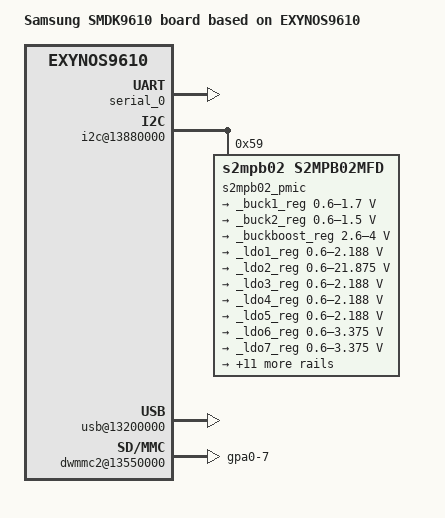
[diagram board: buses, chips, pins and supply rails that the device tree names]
/*
 * SAMSUNG EXYNOS9610 board device tree source
 *
 * Copyright (c) 2017 Samsung Electronics Co., Ltd.
 *		http://www.samsung.com
 *
 * This program is free software; you can redistribute it and/or modify
 * it under the terms of the GNU General Public License version 2 as
 * published by the Free Software Foundation.
 */

/dts-v1/;
#include "exynos9610-rmem.dtsi"
#include "exynos9610.dtsi"

/ {
	model = "Samsung SMDK9610 board based on EXYNOS9610";
	compatible = "samsung,exynos9610", "samsung,SMDK9610";

	ect {
		parameter_address = <0x90000000>;
		parameter_size = <0x19000>;
	};

	memory@80000000 {
		device_type = "memory";
		reg = <0x0 0x80000000 0x80000000>;
	};

	memory@880000000 {
		device_type = "memory";
		reg = <0x00000008 0x80000000 0x80000000>;
	};

	chosen {
		bootargs = "console=ttySAC0,115200n8 root=/dev/ram0 clk_ignore_unused bcm_setup=0xffffff80f8e00000 androidboot.hardware=samsungexynos9610 androidboot.selinux=permissive androidboot.debug_level=0x4948 firmware_class.path=/vendor/firmware";
		linux,initrd-start = <0x84000000>;
		linux,initrd-end = <0x841FFFFF>;
	};

	fixed-rate-clocks {
		oscclk {
			compatible = "samsung,exynos9610-oscclk";
			clock-frequency = <26000000>;
		};
	};

	serial_0: uart@13820000 {
		status = "okay";
	};

	pinctrl@11850000 {
		pmic_irq: pmic-irq {
			samsung,pins = "gpa2-0";
			samsung,pin-pud = <3>;
			samsung,pin-drv = <3>;
		};
		sub_pmic_irq: sub-pmic-irq {
			samsung,pins = "gpa1-3";
			samsung,pin-function = <0>;
			samsung,pin-pud = <0>;
			samsung,pin-drv = <0>;
		};
	};

	pinctrl@139B0000 {
		/* Warm reset information from AP */
		pm_wrsti: pm-wrsti {
			samsung,pins = "gpg0-7";
			samsung,pin-con-pdn = <3>;
		};
	};

	exynos_rgt {
		compatible = "samsung,exynos-rgt";
	};

	speedy@11a10000 {
		status = "okay";

		s2mpu09mfd@00 {
			compatible = "samsung,s2mpu09mfd";
			acpm-ipc-channel = <2>;
			i2c-speedy-address;
			s2mpu09,wakeup = "enabled";
			s2mpu09,irq-gpio = <&gpa2 0 0>;
			reg = <0x00>;
			interrupts = <2 0 0>;
			interrupt-parent = <&gpa2>;
			pinctrl-names = "default";
			pinctrl-0 = <&pmic_irq &pm_wrsti>;
			/* RTC: wtsr/smpl */
			wtsr_en = "enabled"; /* enable */
			smpl_en = "enabled"; /* enable */
			wtsr_timer_val = <3>;	/* 1000ms */
			smpl_timer_val = <4>;	/* 500ms */
			check_jigon = <0>; /* do not check jigon */
			/* RTC: If it's first boot, reset rtc to 1/1/2017 12:00:00(Sun) */
			init_time,sec = <0>;
			init_time,min = <0>;
			init_time,hour = <12>;
			init_time,mday = <1>;
			init_time,mon = <0>;
			init_time,year = <117>;
			init_time,wday = <0>;

			regulators {
				b1_reg: BUCK1 {
					regulator-name = "vdd_mif";
					regulator-min-microvolt = <500000>;
					regulator-max-microvolt = <1100000>;
					regulator-always-on;
					regulator-ramp-delay = <12000>;
					regulator-initial-mode = <2>;
				};

				b2_reg: BUCK2 {
					regulator-name = "vdd_cpucl1";
					regulator-min-microvolt = <500000>;
					regulator-max-microvolt = <1300000>;
					regulator-always-on;
					regulator-ramp-delay = <12000>;
					regulator-initial-mode = <1>;
				};

				b3_reg: BUCK3 {
					regulator-name = "vdd_cpucl0";
					regulator-min-microvolt = <500000>;
					regulator-max-microvolt = <1300000>;
					regulator-always-on;
					regulator-ramp-delay = <12000>;
					regulator-initial-mode = <1>;
				};

				b4_reg: BUCK4{
					regulator-name = "vdd_int";
					regulator-min-microvolt = <500000>;
					regulator-max-microvolt = <1100000>;
					regulator-always-on;
					regulator-ramp-delay = <12000>;
					regulator-initial-mode = <2>;
				};

				b5_reg: BUCK5 {
					regulator-name = "vdd_g3d";
					regulator-min-microvolt = <500000>;
					regulator-max-microvolt = <1200000>;
					regulator-always-on;
					regulator-ramp-delay = <12000>;
					regulator-initial-mode = <2>;
				};

				b6_reg: BUCK6 {
					regulator-name = "vdd_cam_vipx";
					regulator-min-microvolt = <500000>;
					regulator-max-microvolt = <1300000>;
					regulator-always-on;
					regulator-ramp-delay = <12000>;
					regulator-initial-mode = <2>;
				};

				b7_reg: BUCK7 {
					regulator-name = "vdd2_mem";
					regulator-min-microvolt = <500000>;
					regulator-max-microvolt = <1300000>;
					regulator-always-on;
					regulator-ramp-delay = <12000>;
					regulator-initial-mode = <3>;
				};

				b8_reg: BUCK8 {
					regulator-name = "vdd_lldo";
					regulator-min-microvolt = <1200000>;
					regulator-max-microvolt = <1500000>;
					regulator-always-on;
					regulator-ramp-delay = <12000>;
					regulator-initial-mode = <3>;
				};

				b9_reg: BUCK9 {
					regulator-name = "vdd_mldo";
					regulator-min-microvolt = <1800000>;
					regulator-max-microvolt = <2100000>;
					regulator-always-on;
					regulator-ramp-delay = <12000>;
					regulator-initial-mode = <3>;
				};

				l1_reg: LDO1 {
					regulator-name = "vdd_ldo1";
					regulator-min-microvolt = <700000>;
					regulator-max-microvolt = <1300000>;
					regulator-always-on;
					regulator-ramp-delay = <12000>;
					regulator-initial-mode = <3>;
				};

				l2_reg: LDO2 {
					regulator-name = "vdd_ldo2";
					regulator-min-microvolt = <1800000>;
					regulator-max-microvolt = <3375000>;
					regulator-ramp-delay = <12000>;
				};

				l3_reg: LDO3 {
					regulator-name = "vqmmc";
					regulator-min-microvolt = <800000>;
					regulator-max-microvolt = <1950000>;
					regulator-ramp-delay = <12000>;
				};

				l4_reg: LDO4 {
					regulator-name = "vdd_ldo4";
					regulator-min-microvolt = <500000>;
					regulator-max-microvolt = <1100000>;
					regulator-always-on;
					regulator-ramp-delay = <12000>;
					regulator-initial-mode = <3>;
				};

				l5_reg: LDO5 {
					regulator-name = "vdd_ldo5";
					regulator-min-microvolt = <800000>;
					regulator-max-microvolt = <1300000>;
					regulator-always-on;
					regulator-ramp-delay = <12000>;
					regulator-initial-mode = <3>;
				};

				l6_reg: LDO6 {
					regulator-name = "vdd_ldo6";
					regulator-min-microvolt = <800000>;
					regulator-max-microvolt = <1300000>;
					regulator-always-on;
					regulator-ramp-delay = <12000>;
					regulator-initial-mode = <3>;
				};

				l7_reg: LDO7 {
					regulator-name = "vdd_ldo7";
					regulator-min-microvolt = <800000>;
					regulator-max-microvolt = <1950000>;
					regulator-always-on;
					regulator-ramp-delay = <12000>;
					regulator-initial-mode = <3>;
				};

				l8_reg: LDO8 {
					regulator-name = "vdd_ldo8";
					regulator-min-microvolt = <500000>;
					regulator-max-microvolt = <1300000>;
					regulator-always-on;
					regulator-ramp-delay = <12000>;
					regulator-initial-mode = <3>;
				};

				l9_reg: LDO9 {
					regulator-name = "vdd_ldo9";
					regulator-min-microvolt = <500000>;
					regulator-max-microvolt = <1300000>;
					regulator-always-on;
					regulator-ramp-delay = <12000>;
					regulator-initial-mode = <1>;
				};

				l10_reg: LDO10 {
					regulator-name = "vdd_ldo10";
					regulator-min-microvolt = <500000>;
					regulator-max-microvolt = <1300000>;
					regulator-always-on;
					regulator-ramp-delay = <12000>;
					regulator-initial-mode = <3>;
				};

				l11_reg: LDO11 {
					regulator-name = "vdd_ldo11";
					regulator-min-microvolt = <500000>;
					regulator-max-microvolt = <1300000>;
					regulator-always-on;
					regulator-ramp-delay = <12000>;
					regulator-initial-mode = <3>;
				};

				l12_reg: LDO12 {
					regulator-name = "vdd_ldo12";
					regulator-min-microvolt = <800000>;
					regulator-max-microvolt = <1300000>;
					regulator-always-on;
					regulator-ramp-delay = <12000>;
					regulator-initial-mode = <3>;
				};

				l13_reg: LDO13 {
					regulator-name = "vdd_ldo13";
					regulator-min-microvolt = <800000>;
					regulator-max-microvolt = <1950000>;
					regulator-always-on;
					regulator-ramp-delay = <12000>;
					regulator-initial-mode = <3>;
				};

				l14_reg: LDO14 {
					regulator-name = "vdd_ldo14";
					regulator-min-microvolt = <1800000>;
					regulator-max-microvolt = <3375000>;
					regulator-always-on;
					regulator-ramp-delay = <12000>;
					regulator-initial-mode = <3>;
				};

				l33_reg: LDO33 {
					regulator-name = "vdd_ldo33";
					regulator-min-microvolt = <800000>;
					regulator-max-microvolt = <1950000>;
					regulator-ramp-delay = <12000>;
				};

				l34_reg: LDO34 {
					regulator-name = "vdd_ldo34";
					regulator-min-microvolt = <1800000>;
					regulator-max-microvolt = <3375000>;
					regulator-ramp-delay = <12000>;
				};

				l35_reg: LDO35 {
					regulator-name = "vmmc";
					regulator-min-microvolt = <1800000>;
					regulator-max-microvolt = <3375000>;
					regulator-ramp-delay = <12000>;
				};

				l36_reg: LDO36 {
					regulator-name = "vdd_ldo36";
					regulator-min-microvolt = <500000>;
					regulator-max-microvolt = <1300000>;
					regulator-always-on;
					regulator-ramp-delay = <12000>;
					regulator-initial-mode = <3>;
				};

				l37_reg: LDO37 {
					regulator-name = "vdd_ldo37";
					regulator-min-microvolt = <1800000>;
					regulator-max-microvolt = <3375000>;
					regulator-ramp-delay = <12000>;
				};

				l38_reg: LDO38 {
					regulator-name = "vdd_ldo38";
					regulator-min-microvolt = <1800000>;
					regulator-max-microvolt = <3375000>;
					regulator-ramp-delay = <12000>;
				};

				l39_reg: LDO39 {
					regulator-name = "vdd_ldo39";
					regulator-min-microvolt = <800000>;
					regulator-max-microvolt = <1950000>;
					regulator-ramp-delay = <12000>;
				};

				l40_reg: LDO40 {
					regulator-name = "vdd_ldo40";
					regulator-min-microvolt = <1800000>;
					regulator-max-microvolt = <3375000>;
					regulator-ramp-delay = <12000>;
				};

				l41_reg: LDO41 {
					regulator-name = "vdd_ldo41";
					regulator-min-microvolt = <1800000>;
					regulator-max-microvolt = <3375000>;
					regulator-ramp-delay = <12000>;
				};

				l42_reg: LDO42 {
					regulator-name = "vdd_ldo42";
					regulator-min-microvolt = <800000>;
					regulator-max-microvolt = <1950000>;
					regulator-ramp-delay = <12000>;
				};

				l43_reg: LDO43 {
					regulator-name = "vdd_ldo43";
					regulator-min-microvolt = <500000>;
					regulator-max-microvolt = <1300000>;
					regulator-always-on;
					regulator-ramp-delay = <12000>;
					regulator-initial-mode = <3>;
				};

				l44_reg: LDO44 {
					regulator-name = "vdd_ldo44";
					regulator-min-microvolt = <800000>;
					regulator-max-microvolt = <1300000>;
					regulator-ramp-delay = <12000>;
				};
			};
		};
	};

	i2c@13880000 {
		status = "okay";
		s2mpb02_pmic@59 {
			compatible = "s2mpb02,s2mpb02mfd";
			reg = <0x59>;

			s2mpb02,wakeup;
			pinctrl-names = "default";
			pinctrl-0 = <&sub_pmic_irq>;

			regulators {
				_buck1_reg: s2mpb02-buck1 {
					regulator-name = "VDD_EXT_1P3_PB03";
					regulator-min-microvolt = <600000>;
					regulator-max-microvolt = <1700000>;
					regulator-always-on;
					regulator-boot-on;
				};

				_buck2_reg: s2mpb02-buck2 {
					regulator-name = "VDD_EXT_1P3_PB02";
					regulator-min-microvolt = <600000>;
					regulator-max-microvolt = <1500000>;
					regulator-always-on;
					regulator-boot-on;
				};

				_buckboost_reg: s2mpb02-bb {
					regulator-name = "VREG_BOOST_BYP";
					regulator-min-microvolt = <2600000>;
					regulator-max-microvolt = <4000000>;
					regulator-always-on;
					regulator-boot-on;
				};

				_ldo1_reg: s2mpb02-ldo1 {
					regulator-name = "S2MPB02_LDO1";
					regulator-min-microvolt = <600000>;
					regulator-max-microvolt = <2187500>;
				};

				_ldo2_reg: s2mpb02-ldo2 {
					regulator-name = "S2MPB02_LDO2";
					regulator-min-microvolt = <600000>;
					regulator-max-microvolt = <21875000>;
				};

				_ldo3_reg: s2mpb02-ldo3 {
					regulator-name = "VDDD_1.05V_SUB";
					regulator-min-microvolt = <600000>;
					regulator-max-microvolt = <2187500>;
				};

				_ldo4_reg: s2mpb02-ldo4 {
					regulator-name = "S2MPB02_LDO4";
					regulator-min-microvolt = <600000>;
					regulator-max-microvolt = <2187500>;
				};

				_ldo5_reg: s2mpb02-ldo5 {
					regulator-name = "VDDD_1.05V_VT";
					regulator-min-microvolt = <600000>;
					regulator-max-microvolt = <2187500>;
				};

				_ldo6_reg: s2mpb02-ldo6 {
					regulator-name = "VDDIO_1.8V_VT";
					regulator-min-microvolt = <600000>;
					regulator-max-microvolt = <3375000>;
				};

				_ldo7_reg: s2mpb02-ldo7 {
					regulator-name = "VDDIO_1.8V_SUB";
					regulator-min-microvolt = <600000>;
					regulator-max-microvolt = <3375000>;
				};

				_ldo8_reg: s2mpb02-ldo8 {
					regulator-name = "VDD_HRM_1P8";
					regulator-min-microvolt = <600000>;
					regulator-max-microvolt = <3375000>;
				};

				_ldo9_reg: s2mpb02-ldo9 {
					regulator-name = "S2MPB02_LDO9";
					regulator-min-microvolt = <600000>;
					regulator-max-microvolt = <3375000>;
				};

				_ldo10_reg: s2mpb02-ldo10 {
					regulator-name = "VDDD_1.8V_OIS";
					regulator-min-microvolt = <600000>;
					regulator-max-microvolt = <3375000>;
				};

				_ldo11_reg: s2mpb02-ldo11 {
					regulator-name = "VDDA_2.8V_SUB";
					regulator-min-microvolt = <600000>;
					regulator-max-microvolt = <3375000>;
				};

				_ldo12_reg: s2mpb02-ldo12 {
					regulator-name = "VDDAF_2.8V_SUB";
					regulator-min-microvolt = <600000>;
					regulator-max-microvolt = <3375000>;
				};

				_ldo13_reg: s2mpb02-ldo13 {
					regulator-name = "VDDA_2.8V_VT";
					regulator-min-microvolt = <600000>;
					regulator-max-microvolt = <3375000>;
				};

				_ldo14_reg: s2mpb02-ldo14 {
					regulator-name = "VDDAF_COMMON_CAM";
					regulator-min-microvolt = <600000>;
					regulator-max-microvolt = <3375000>;
				};

				_ldo15_reg: s2mpb02-ldo15 {
					regulator-name = "VDDD_2.8V_OIS";
					regulator-min-microvolt = <600000>;
					regulator-max-microvolt = <3375000>;
				};

				_ldo16_reg: s2mpb02-ldo16 {
					regulator-name = "VDDAF_2.8V_VT";
					regulator-min-microvolt = <600000>;
					regulator-max-microvolt = <3375000>;
				};

				_ldo17_reg: s2mpb02-ldo17 {
					regulator-name = "S2MPB02_LDO17";
					regulator-min-microvolt = <600000>;
					regulator-max-microvolt = <3375000>;
				};

				_ldo18_reg: s2mpb02-ldo18 {
					regulator-name = "VDD_PROXY_LED_3P3";
					regulator-min-microvolt = <600000>;
					regulator-max-microvolt = <3375000>;
				};
			};

			torch {
				torch1-gpio = "gpg3-1";
				flash1-gpio = "gpg3-0";

				status = "okay";

				leds1 {
					ledname = "leds-sec1";
					id = <0>;
					brightness = <0xC>; /* (n+1)x100 : 1300mA */
					timeout = <0x7>; /* (n+1)x62.6 : 500ms */
					torch_table_enable = <0>;
				};

				leds2 {
					ledname = "torch-sec1";
					id = <1>;
					brightness = <0xC>; /* (n+1)x20 = 260mA */
					timeout = <0xF>;
					torch_table_enable = <1>;
					torch_table = <2 4 4 5 6 8 9 10 10 12>;
				};
			};
		};
	};

	usb@13200000 {
		status = "okay";
		dwc3 {
			dr_mode = "otg";
			maximum-speed = "high-speed";
		};
	};

	phy@131D0000 {
		status = "okay";

		hs_tune_param = <&usb_hs_tune>;
	};

	usb_hs_tune:hs_tune {
		hs_tune_cnt = <12>;

		/* value = <device host> */
		hs_tune1 {
			tune_name = "tx_vref";
			tune_value = <0xf 0xf>;
		};

		hs_tune2 {
			tune_name = "tx_pre_emp";
			tune_value = <0x3 0x3>;
		};

		hs_tune3 {
			tune_name = "tx_pre_emp_plus";
			tune_value = <0x0 0x0>;
		};

		hs_tune4 {
			tune_name = "tx_res";
			tune_value = <0x3 0x3>;
		};

		hs_tune5 {
			tune_name = "tx_rise";
			tune_value = <0x3 0x3>;
		};

		hs_tune6 {
			tune_name = "tx_hsxv";
			tune_value = <0x3 0x3>;
		};

		hs_tune7 {
			tune_name = "tx_fsls";
			tune_value = <0x3 0x3>;
		};

		hs_tune8 {
			tune_name = "rx_sqrx";
			tune_value = <0x7 0x7>;
		};

		hs_tune9 {
			tune_name = "compdis";
			tune_value = <0x7 0x7>;
		};

		hs_tune10 {
			tune_name = "otg";
			tune_value = <0x2 0x2>;
		};

		hs_tune11 {
		/* true : 1, false: 0 */
		/* <enable_user_imp user_imp_value> */
			tune_name = "enable_user_imp";
			tune_value = <0x0 0x0>;
		};

		hs_tune12 {
		/* PHY clk : 1 , FREE clk : 0 */
			tune_name = "is_phyclock";
			tune_value = <0x1 0x1>;
		};
	};

	/* USI_0_SHUB */
	usi_0_shub: usi@11013000 {
		/*	usi_mode_v2 = "i2c" or "spi" or "uart"	*/
		status = "disabled";
	};

	/* USI_SHUB_0_I2C */
	usi_0_shub_i2c: usi@11013018 {
		/*	usi_mode_v2 = "i2c" or "spi" or "uart"	*/
		status = "disabled";
	};

	/* USI_0_CMGP */
	usi_0_cmgp: usi@11B12000 {
		/*	usi_mode_v2 = "i2c" or "spi" or "uart"	*/
		status = "disabled";
	};

	/* USI_0_CMGP_I2C */
	usi_0_cmgp_i2c: usi@11B12004 {
		/*	usi_mode_v2 = "i2c" or "spi" or "uart"	*/
		status = "disabled";
	};

	/* USI_1_CMGP */
	usi_1_cmgp: usi@11B12010 {
		/*	usi_mode_v2 = "i2c" or "spi" or "uart"	*/
		status = "disabled";
	};

	/* USI_1_CMGP_I2C */
	usi_1_cmgp_i2c: usi@11B12014 {
		/*	usi_mode_v2 = "i2c" or "spi" or "uart"	*/
		status = "disabled";
	};

	/* USI_2_CMGP */
	usi_2_cmgp: usi@11B12020 {
		/*	usi_mode_v2 = "i2c" or "spi" or "uart"	*/
		status = "disabled";
	};

	/* USI_2_CMGP_I2C */
	usi_2_cmgp_i2c: usi@11B12024 {
		/*	usi_mode_v2 = "i2c" or "spi" or "uart"	*/
		status = "disabled";
	};

	/* USI_3_CMGP */
	usi_3_cmgp: usi@11B12030 {
		/*	usi_mode_v2 = "i2c" or "spi" or "uart"	*/
		status = "disabled";
	};

	/* USI_3_CMGP_I2C */
	usi_3_cmgp_i2c: usi@11B12034 {
		/*	usi_mode_v2 = "i2c" or "spi" or "uart"	*/
		status = "disabled";
	};

	/* USI_4_CMGP */
	usi_4_cmgp: usi@11B12040 {
		/*	usi_mode_v2 = "i2c" or "spi" or "uart"	*/
		status = "disabled";
	};

	/* USI_4_CMGP_I2C */
	usi_4_cmgp_i2c: usi@11B12044 {
		/*	usi_mode_v2 = "i2c" or "spi" or "uart"	*/
		status = "disabled";
	};

	/* USI_PERI_UART */
	usi_peri_uart: usi@10011010 {
		/*	usi_mode_v2 = "i2c" or "spi" or "uart"	*/
		status = "disabled";
	};

	/* USI_PERI_CAMI2C_0 */
	usi_peri_cami2c_0: usi@10011020 {
		/*	usi_mode_v2 = "i2c" or "spi" or "uart"	*/
		status = "disabled";
	};

	/* USI_PERI_CAMI2C_1 */
	usi_peri_cami2c_1: usi@10011024 {
		/*	usi_mode_v2 = "i2c" or "spi" or "uart"	*/
		status = "disabled";
	};

	/* USI_PERI_CAMI2C_2 */
	usi_peri_cami2c_2: usi@10011028 {
		/*	usi_mode_v2 = "i2c" or "spi" or "uart"	*/
		status = "disabled";
	};

	/* USI_PERI_CAMI2C_3 */
	usi_peri_cami2c_3: usi@1001102C {
		/*	usi_mode_v2 = "i2c" or "spi" or "uart"	*/
		status = "disabled";
	};

	/* USI_PERI_SPI_0 */
	usi_peri_spi_0: usi@10011030 {
		/*	usi_mode_v2 = "i2c" or "spi" or "uart"	*/
		status = "disabled";
	};

	/* USI_PERI_SPI_1 */
	usi_peri_spi_1: usi@10011034 {
		/*	usi_mode_v2 = "i2c" or "spi" or "uart"	*/
		status = "disabled";
	};

	/* USI_PERI_USI_0 */
	usi_peri_usi_0: usi@1001103C {
		/*	usi_mode_v2 = "i2c" or "spi" or "uart"	*/
		status = "disabled";
	};

	/* USI_PERI_USI_0_I2C */
	usi_peri_usi_0_i2c: usi@10011040 {
		/*	usi_mode_v2 = "i2c" or "spi" or "uart"	*/
		status = "disabled";
	};

	/* USI_PERI_SPI_2 */
	usi_peri_spi_2: usi@10011038 {
		/*	usi_mode_v2 = "i2c" or "spi" or "uart"	*/
		status = "disabled";
	};

	usb_notifier {
		compatible = "samsung,usb-notifier";
		udc = <&udc>;
	};

	dwmmc0@13500000 {
		status = "disabled";
		num-slots = <1>;
		broken-cd;
		fixed_voltage;
		supports-highspeed;
		mmc-ddr-1_8v;
		mmc-hs200-1_8v;
		mmc-hs400-1_8v;
		supports-8bit;
		supports-cmd23;
		supports-erase;
		supports-hs400-enhanced-strobe;
		card-init-hwacg-ctrl;
		pm-skip-mmc-resume-init;
		support-cmdq;
		qos-dvfs-level = <100000>;
		fifo-depth = <0x40>;
		non-removable;
		desc-size = <4>;
		card-detect-delay = <200>;
		samsung,dw-mshc-ciu-div = <3>;
		samsung,dw-mshc-txdt-crc-timer-fastlimit = <0x13>;
		samsung,dw-mshc-txdt-crc-timer-initval = <0x15>;
		samsung,dw-mshc-hs400-delay-line = <0x60>;
		samsung,dw-mshc-sdr-timing = <3 0 4 0>;
		samsung,dw-mshc-ddr-timing = <3 0 4 2>;
		samsung,dw-mshc-hs200-timing = <3 0 3 0>;
		samsung,dw-mshc-hs400-timing = <1 0 2 0>;
		samsung,dw-mshc-hs400-ulp-timing = <3 0 2 0>;

		num-ref-clks = <12>;
		ciu_clkin = <25 50 50 25 50 100 200 50 50 200 200 200>;

		/* Swapping clock drive strength */
		clk-drive-number = <4>;
		pinctrl-names = "default",
			"fast-slew-rate-1x",
			"fast-slew-rate-2x",
			"fast-slew-rate-3x",
			"fast-slew-rate-4x";
		pinctrl-0 = <&sd0_clk &sd0_cmd &sd0_rdqs &sd0_bus1 &sd0_bus4 &sd0_bus8>;
		pinctrl-1 = <&sd0_clk_fast_slew_rate_1x>;
		pinctrl-2 = <&sd0_clk_fast_slew_rate_2x>;
		pinctrl-3 = <&sd0_clk_fast_slew_rate_3x>;
		pinctrl-4 = <&sd0_clk_fast_slew_rate_4x>;
		slot@0 {
			reg = <0>;
			bus-width = <8>;
		};
	};

	pinctrl@11850000 {
		dwmmc2_cd_ext_irq: dwmmc2_cd_ext_irq {
			samsung,pins = "gpa0-7";
			samsung,pin-function = <0xf>;
			samsung,pin-pud = <3>;
			samsung,pin-drv = <3>;
		};
	};

	dwmmc2@13550000 {
		status = "okay";
		num-slots = <1>;
		supports-4bit;
		supports-cmd23;
		supports-erase;
		supports-highspeed;
		sd-uhs-sdr50;
		sd-uhs-sdr104;
		card-detect-gpio;
		bypass-for-allpass;
		card-init-hwacg-ctrl;
		skip-init-mmc-scan;
		qos-dvfs-level = <100000>;
		fifo-depth = <0x40>;
		desc-size = <4>;
		card-detect-delay = <200>;
		data-timeout = <200>;
		hto-timeout = <80>;
		samsung,dw-mshc-ciu-div = <3>;
		clock-frequency = <800000000>;
		samsung,dw-mshc-sdr-timing = <3 0 2 0>;
		samsung,dw-mshc-ddr-timing = <3 0 2 1>;
		samsung,dw-mshc-sdr50-timing = <3 0 4 2>;
		samsung,dw-mshc-sdr104-timing = <3 0 3 0>;

		num-ref-clks = <9>;
		ciu_clkin = <25 50 50 25 50 100 200 50 50>;

		/* Swapping clock drive strength */
		clk-drive-number = <4>;
		pinctrl-names = "default",
			"fast-slew-rate-1x",
			"fast-slew-rate-2x",
			"fast-slew-rate-3x",
			"fast-slew-rate-4x";
		pinctrl-0 = <&sd2_clk &sd2_cmd &sd2_bus1 &sd2_bus4 &dwmmc2_cd_ext_irq>;
		pinctrl-1 = <&sd2_clk_fast_slew_rate_1x>;
		pinctrl-2 = <&sd2_clk_fast_slew_rate_2x>;
		pinctrl-3 = <&sd2_clk_fast_slew_rate_3x>;
		pinctrl-4 = <&sd2_clk_fast_slew_rate_4x>;

		card-detect = <&gpa0 7 0xf>;
		slot@0 {
			reg = <0>;
			bus-width = <4>;
			disable-wp;
		};
	};
};
